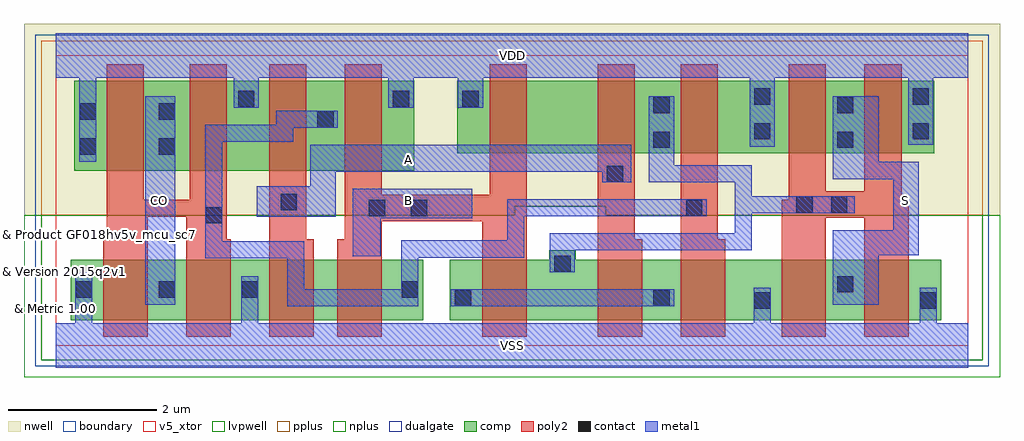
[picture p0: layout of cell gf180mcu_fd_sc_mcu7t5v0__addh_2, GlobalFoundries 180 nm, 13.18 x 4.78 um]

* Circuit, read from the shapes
.subckt gf180mcu_fd_sc_mcu7t5v0__addh_2 A B CO S VDD VSS
XM1 CO n1 VSS VSUBS nfet_05v0 w=0.815u l=0.6u m=2
XM2 n2 A VSS VSUBS nfet_05v0 w=0.815u l=0.6u
XM3 n1 B n2 VSUBS nfet_05v0 w=0.815u l=0.6u
XM4 n3 B n4 VSUBS nfet_05v0 w=0.815u l=0.6u
XM5 n4 A n3 VSUBS nfet_05v0 w=0.815u l=0.6u
XM6 VSS n1 n4 VSUBS nfet_05v0 w=0.815u l=0.6u
XM7 S n3 VSS VSUBS nfet_05v0 w=0.815u l=0.6u m=2
XM8 CO n1 VDD n5 pfet_05v0 w=1.215u l=0.5u m=2
XM9 n1 A VDD n5 pfet_05v0 w=1.215u l=0.5u
XM10 VDD B n1 n5 pfet_05v0 w=1.215u l=0.5u
XM11 n6 B VDD n5 pfet_05v0 w=0.975u l=0.5u
XM12 n3 A n6 n5 pfet_05v0 w=0.975u l=0.5u
XM13 VDD n1 n3 n5 pfet_05v0 w=0.975u l=0.5u
XM14 S n3 VDD n5 pfet_05v0 w=0.975u l=0.5u m=2
.ends

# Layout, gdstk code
import gdstk
lib = gdstk.Library(unit=1e-6, precision=1e-09)
def R(c, l, rs):  # rectangles x0, y0, x1, y1
    for r in rs: c.add(gdstk.rectangle(r[:2], r[2:], *l))
def A(c, l, x, y, w, h, nx, ny, dx, dy):  # array of equal rectangles
    R(c, l, [(x+i*dx, y+j*dy, x+i*dx+w, y+j*dy+h) for i in range(nx) for j in range(ny)])
def P(c, l, *ps):  # polygons
    for p in ps: c.add(gdstk.Polygon(p, *l))
boundary = (0, 0)
nwell = (21, 0)
comp = (22, 0)
poly2 = (30, 0)
pplus = (31, 0)
nplus = (32, 0)
contact = (33, 0)
metal1 = (34, 0)
dualgate = (55, 0)
v5_xtor = (112, 1)
lvpwell = (204, 0)

gf180mcu_fd_sc_mcu7t5v0_ = lib.new_cell('gf180mcu_fd_sc_mcu7t5v0__addh_2')
R(gf180mcu_fd_sc_mcu7t5v0_, boundary, [(0,0,12.32,3.92)])
P(gf180mcu_fd_sc_mcu7t5v0_, nwell, [(-0.43,1.76),(-0.43,4.35),(12.75,4.35),(12.75,1.76),(7.425,1.76),(7.425,1.885),(6.2,1.885),(6.2,1.76)])
R(gf180mcu_fd_sc_mcu7t5v0_, comp, [(0.2,0.345,4.96,1.16), (0.25,2.36,4.84,3.575), (5.42,2.6,11.86,3.575)])
P(gf180mcu_fd_sc_mcu7t5v0_, comp, [(5.32,0.345),(5.32,1.16),(6.66,1.16),(6.66,1.285),(7.02,1.285),(7.02,1.16),(11.96,1.16),(11.96,0.345)])
P(gf180mcu_fd_sc_mcu7t5v0_, poly2, [(0.64,0.12),(0.64,1.44),(0.69,1.44),(0.69,3.8),(1.19,3.8),(1.19,1.97),(1.81,1.97),(1.81,3.8),(2.31,3.8),(2.31,1.44),(2.36,1.44),(2.36,0.12),(1.76,0.12),(1.76,1.74),(1.24,1.74),(1.24,0.12)],
  [(2.88,0.12),(2.88,3.8),(3.38,3.8),(3.38,1.44),(3.48,1.44),(3.48,0.12)],
  [(3.8,0.12),(3.8,1.44),(3.9,1.44),(3.9,3.8),(4.4,3.8),(4.4,2.04),(5.86,2.04),(5.86,3.8),(6.36,3.8),(6.36,0.12),(5.76,0.12),(5.76,1.68),(4.4,1.68),(4.4,0.12)],
  [(7.32,0.12),(7.32,3.8),(7.82,3.8),(7.82,1.44),(7.92,1.44),(7.92,0.12)],
  [(8.44,0.12),(8.44,3.8),(8.94,3.8),(8.94,1.44),(9.04,1.44),(9.04,0.12)],
  [(9.8,0.12),(9.8,1.97),(9.9,1.97),(9.9,3.8),(10.4,3.8),(10.4,2.085),(10.92,2.085),(10.92,3.8),(11.42,3.8),(11.42,1.97),(11.52,1.97),(11.52,0.12),(10.92,0.12),(10.92,1.725),(10.4,1.725),(10.4,0.12)])
P(gf180mcu_fd_sc_mcu7t5v0_, pplus, [(-0.2,1.76),(-0.2,4.12),(12.52,4.12),(12.52,1.76),(7.425,1.76),(7.425,1.885),(6.2,1.885),(6.2,1.76)])
P(gf180mcu_fd_sc_mcu7t5v0_, nplus, [(-0.2,-0.2),(-0.2,1.76),(6.2,1.76),(6.2,1.885),(7.425,1.885),(7.425,1.76),(12.52,1.76),(12.52,-0.2)])
A(gf180mcu_fd_sc_mcu7t5v0_, contact, 0.27, 0.65, 0.22, 0.22, 3, 1, 1.12, 0)
R(gf180mcu_fd_sc_mcu7t5v0_, contact, [(9.43,0.5,9.65,0.72), (11.67,0.5,11.89,0.72), (5.39,0.535,5.61,0.755), (8.07,0.535,8.29,0.755), (4.67,0.65,4.89,0.87), (10.55,0.72,10.77,0.94), (6.73,0.995,6.95,1.215), (2.02,1.65,2.24,1.87), (4.225,1.75,4.445,1.97), (4.795,1.75,5.015,1.97), (8.51,1.75,8.73,1.97), (10,1.795,10.22,2.015), (10.47,1.795,10.69,2.015), (3.035,1.83,3.255,2.05), (7.44,2.21,7.66,2.43), (0.32,2.58,0.54,2.8), (1.39,2.58,1.61,2.8), (8.07,2.67,8.29,2.89), (10.55,2.67,10.77,2.89), (9.43,2.785,9.65,3.005), (11.57,2.785,11.79,3.005), (3.53,2.945,3.75,3.165), (0.32,3.05,0.54,3.27), (1.39,3.05,1.61,3.27), (8.07,3.14,8.29,3.36), (10.55,3.14,10.77,3.36), (2.46,3.22,2.68,3.44), (4.55,3.22,4.77,3.44), (5.49,3.22,5.71,3.44), (9.43,3.255,9.65,3.475), (11.57,3.255,11.79,3.475)])
R(gf180mcu_fd_sc_mcu7t5v0_, metal1, [(5.33,0.53,8.35,0.76), (1.21,0.55,1.615,3.37)])
P(gf180mcu_fd_sc_mcu7t5v0_, metal1, [(4.01,1.21),(4.01,2.12),(5.62,2.12),(5.62,1.72),(4.39,1.72),(4.39,1.21)],
  [(2.715,1.74),(2.715,2.15),(3.435,2.15),(3.435,2.71),(7.77,2.71),(7.77,2.205),(7.38,2.205),(7.38,2.35),(3.78,2.35),(3.78,1.74)],
  [(3.125,0.53),(3.125,1.18),(2.015,1.18),(2.015,2.985),(2.975,2.985),(2.975,3.17),(3.81,3.17),(3.81,2.94),(3.205,2.94),(3.205,2.755),(2.245,2.755),(2.245,1.41),(3.355,1.41),(3.355,0.76),(4.665,0.76),(4.665,1.42),(6.095,1.42),(6.095,1.975),(8.79,1.975),(8.79,1.745),(6.325,1.745),(6.325,1.19),(4.895,1.19),(4.895,0.53)],
  [(6.67,0.99),(6.67,1.515),(9.17,1.515),(9.17,2.205),(8.01,2.205),(8.01,3.37),(8.35,3.37),(8.35,2.435),(9.4,2.435),(9.4,2.02),(10.79,2.02),(10.79,1.79),(9.4,1.79),(9.4,1.285),(7.01,1.285),(7.01,0.99)],
  [(10.49,0.55),(10.49,1.56),(11.31,1.56),(11.31,2.25),(10.49,2.25),(10.49,3.37),(11.11,3.37),(11.11,2.48),(11.65,2.48),(11.65,1.22),(11.11,1.22),(11.11,0.55)],
  [(0,-0.3),(0,0.3),(0.265,0.3),(0.265,0.985),(0.495,0.985),(0.495,0.3),(2.505,0.3),(2.505,0.94),(2.735,0.94),(2.735,0.3),(9.425,0.3),(9.425,0.78),(9.655,0.78),(9.655,0.3),(11.665,0.3),(11.665,0.78),(11.895,0.78),(11.895,0.3),(12.32,0.3),(12.32,-0.3)],
  [(0.315,2.48),(0.315,3.62),(0,3.62),(0,4.22),(12.32,4.22),(12.32,3.62),(11.85,3.62),(11.85,2.71),(11.51,2.71),(11.51,3.62),(9.71,3.62),(9.71,2.685),(9.37,2.685),(9.37,3.62),(5.77,3.62),(5.77,3.215),(5.43,3.215),(5.43,3.62),(4.83,3.62),(4.83,3.215),(4.49,3.215),(4.49,3.62),(2.74,3.62),(2.74,3.215),(2.4,3.215),(2.4,3.62),(0.545,3.62),(0.545,2.48)])
R(gf180mcu_fd_sc_mcu7t5v0_, dualgate, [(-0.28,-0.28,12.6,4.2)])
R(gf180mcu_fd_sc_mcu7t5v0_, v5_xtor, [(0,0,12.32,3.92)])
P(gf180mcu_fd_sc_mcu7t5v0_, lvpwell, [(-0.43,-0.43),(-0.43,1.76),(6.2,1.76),(6.2,1.885),(7.425,1.885),(7.425,1.76),(12.75,1.76),(12.75,-0.43)])
gf180mcu_fd_sc_mcu7t5v0_.add(gdstk.Label('CO', (1.4,1.96), layer=34, texttype=10))
gf180mcu_fd_sc_mcu7t5v0_.add(gdstk.Label('S', (11.48,1.96), layer=34, texttype=10))
gf180mcu_fd_sc_mcu7t5v0_.add(gdstk.Label('VDD', (6.16,3.92), layer=34, texttype=10))
gf180mcu_fd_sc_mcu7t5v0_.add(gdstk.Label('VSS', (6.16,0), layer=34, texttype=10))
gf180mcu_fd_sc_mcu7t5v0_.add(gdstk.Label('A', (4.76,2.52), layer=34, texttype=10))
gf180mcu_fd_sc_mcu7t5v0_.add(gdstk.Label('B', (4.76,1.96), layer=34, texttype=10))
gf180mcu_fd_sc_mcu7t5v0_.add(gdstk.Label('& Vendor GLOBALFOUNDRIES', (0,2), layer=63, texttype=63))
gf180mcu_fd_sc_mcu7t5v0_.add(gdstk.Label('& Product GF018hv5v_mcu_sc7', (0,1.5), layer=63, texttype=63))
gf180mcu_fd_sc_mcu7t5v0_.add(gdstk.Label('& Version 2015q2v1', (0,1), layer=63, texttype=63))
gf180mcu_fd_sc_mcu7t5v0_.add(gdstk.Label('& Metric 1.00', (0,0.5), layer=63, texttype=63))

lib.write_gds('gf180mcu_fd_sc_mcu7t5v0__addh_2.gds')
